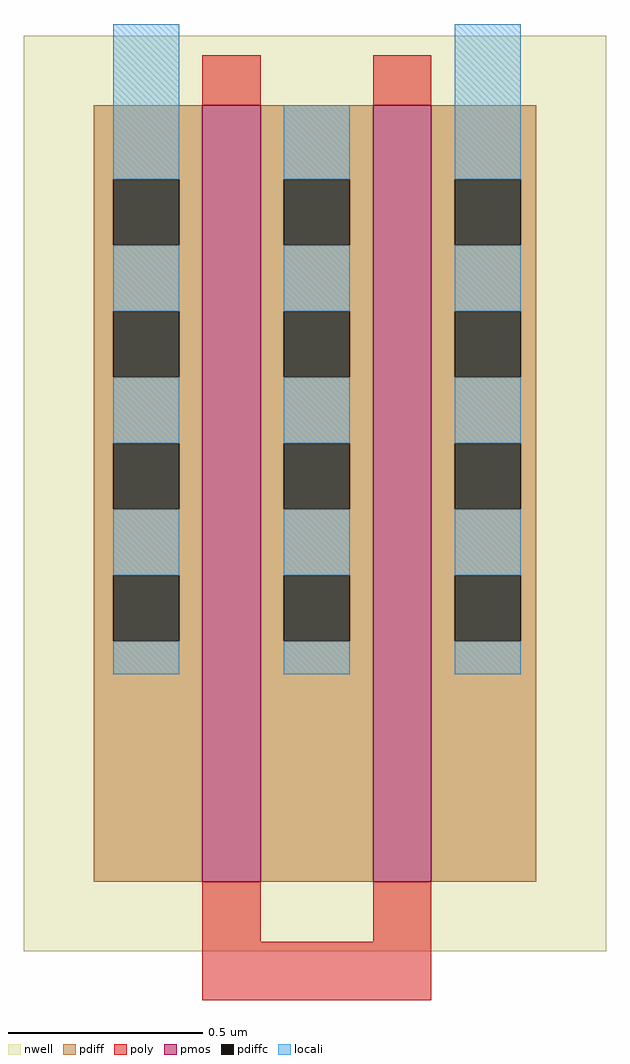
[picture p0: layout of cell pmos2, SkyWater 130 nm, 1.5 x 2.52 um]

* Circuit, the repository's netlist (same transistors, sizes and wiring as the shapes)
* NGSPICE file created from pmos2.ext - technology: sky130A

.subckt pmos2
X0 a_262_n400# a_144_n461# a_174_n400# w_52_n436# sky130_fd_pr__pfet_01v8 ad=0.54 pd=4.54 as=0.29 ps=2.29 w=2 l=0.15
X1 a_174_n400# a_144_n461# a_88_n400# w_52_n436# sky130_fd_pr__pfet_01v8 ad=0.29 pd=2.29 as=0.56 ps=4.56 w=2 l=0.15
.ends

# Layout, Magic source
magic
tech sky130A
magscale 1 2
<< nwell >>
rect 52 -436 352 36
<< pmos >>
rect 144 -400 174 0
rect 232 -400 262 0
<< pdiff >>
rect 88 -38 144 0
rect 88 -72 98 -38
rect 132 -72 144 -38
rect 88 -106 144 -72
rect 88 -140 98 -106
rect 132 -140 144 -106
rect 88 -174 144 -140
rect 88 -208 98 -174
rect 132 -208 144 -174
rect 88 -242 144 -208
rect 88 -276 98 -242
rect 132 -276 144 -242
rect 88 -400 144 -276
rect 174 -38 232 0
rect 174 -72 186 -38
rect 220 -72 232 -38
rect 174 -106 232 -72
rect 174 -140 186 -106
rect 220 -140 232 -106
rect 174 -174 232 -140
rect 174 -208 186 -174
rect 220 -208 232 -174
rect 174 -242 232 -208
rect 174 -276 186 -242
rect 220 -276 232 -242
rect 174 -400 232 -276
rect 262 -38 316 0
rect 262 -72 274 -38
rect 308 -72 316 -38
rect 262 -106 316 -72
rect 262 -140 274 -106
rect 308 -140 316 -106
rect 262 -174 316 -140
rect 262 -208 274 -174
rect 308 -208 316 -174
rect 262 -242 316 -208
rect 262 -276 274 -242
rect 308 -276 316 -242
rect 262 -400 316 -276
<< pdiffc >>
rect 98 -72 132 -38
rect 98 -140 132 -106
rect 98 -208 132 -174
rect 98 -276 132 -242
rect 186 -72 220 -38
rect 186 -140 220 -106
rect 186 -208 220 -174
rect 186 -276 220 -242
rect 274 -72 308 -38
rect 274 -140 308 -106
rect 274 -208 308 -174
rect 274 -276 308 -242
<< poly >>
rect 144 0 174 26
rect 232 0 262 26
rect 144 -431 174 -400
rect 232 -431 262 -400
rect 144 -461 262 -431
<< locali >>
rect 98 -38 132 42
rect 98 -106 132 -72
rect 98 -174 132 -140
rect 98 -242 132 -208
rect 98 -293 132 -276
rect 186 -38 220 0
rect 186 -106 220 -72
rect 186 -174 220 -140
rect 186 -242 220 -208
rect 186 -293 220 -276
rect 274 -38 308 42
rect 274 -106 308 -72
rect 274 -174 308 -140
rect 274 -242 308 -208
rect 274 -293 308 -276
<< end >>
